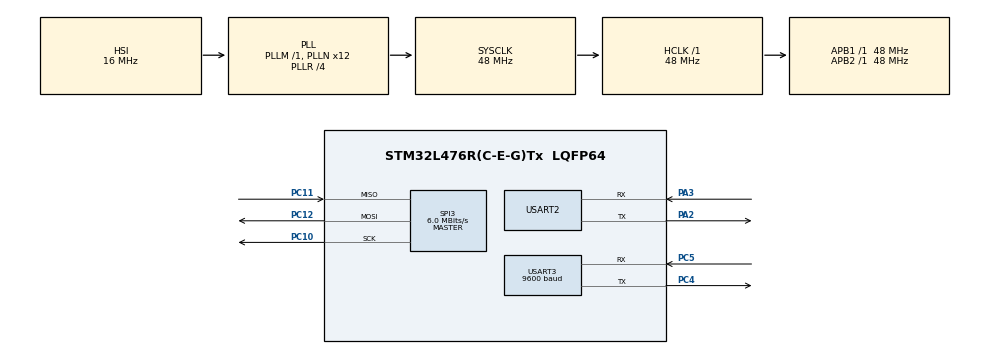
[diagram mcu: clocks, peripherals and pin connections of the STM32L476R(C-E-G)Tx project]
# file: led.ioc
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Dma.Request0=SPI3_TX
Dma.Request1=USART2_RX
Dma.SPI3_TX.0.Direction=DMA_MEMORY_TO_PERIPH
Dma.SPI3_TX.0.Instance=DMA2_Channel2
Dma.SPI3_TX.0.MemDataAlignment=DMA_MDATAALIGN_BYTE
Dma.SPI3_TX.0.MemInc=DMA_MINC_ENABLE
Dma.SPI3_TX.0.Mode=DMA_NORMAL
Dma.SPI3_TX.0.PeriphDataAlignment=DMA_PDATAALIGN_BYTE
Dma.SPI3_TX.0.PeriphInc=DMA_PINC_DISABLE
Dma.SPI3_TX.0.Priority=DMA_PRIORITY_LOW
Dma.USART2_RX.1.Direction=DMA_PERIPH_TO_MEMORY
Dma.USART2_RX.1.Instance=DMA1_Channel6
Dma.USART2_RX.1.MemDataAlignment=DMA_MDATAALIGN_BYTE
Dma.USART2_RX.1.MemInc=DMA_MINC_ENABLE
Dma.USART2_RX.1.Mode=DMA_CIRCULAR
Dma.USART2_RX.1.PeriphDataAlignment=DMA_PDATAALIGN_BYTE
Dma.USART2_RX.1.PeriphInc=DMA_PINC_DISABLE
Dma.USART2_RX.1.Priority=DMA_PRIORITY_LOW
Mcu.Family=STM32L4
Mcu.Name=STM32L476R(C-E-G)Tx
Mcu.Package=LQFP64
NVIC.DMA1_Channel6_IRQn=true\:0\:0\:false\:false\:true\:false\:true\:true
NVIC.DMA2_Channel2_IRQn=true\:0\:0\:false\:false\:true\:false\:true\:true
NVIC.PriorityGroup=NVIC_PRIORITYGROUP_4
NVIC.SPI3_IRQn=true\:0\:0\:false\:false\:true\:true\:true\:true
NVIC.USART2_IRQn=true\:0\:0\:false\:false\:true\:true\:true\:true
PA2.Mode=Asynchronous
PA2.Signal=USART2_TX
PA3.Mode=Asynchronous
PA3.Signal=USART2_RX
PC10.Mode=Full_Duplex_Master
PC10.Signal=SPI3_SCK
PC11.Mode=Full_Duplex_Master
PC11.Signal=SPI3_MISO
PC12.Mode=Full_Duplex_Master
PC12.Signal=SPI3_MOSI
PC4.Mode=Asynchronous
PC4.Signal=USART3_TX
PC5.Mode=Asynchronous
PC5.Signal=USART3_RX
ProjectManager.HeapSize=0x200
ProjectManager.StackSize=0x400
ProjectManager.TargetToolchain=STM32CubeIDE
RCC.ADCFreq_Value=64000000
RCC.AHBFreq_Value=48000000
RCC.APB1Freq_Value=48000000
RCC.APB1TimFreq_Value=48000000
RCC.APB2Freq_Value=48000000
RCC.APB2TimFreq_Value=48000000
RCC.CortexFreq_Value=48000000
RCC.HCLKFreq_Value=48000000
RCC.HSE_VALUE=8000000
RCC.HSI_VALUE=16000000
RCC.LSE_VALUE=32768
RCC.MSI_VALUE=4000000
RCC.PLLN=12
RCC.PLLR=RCC_PLLR_DIV4
RCC.PLLSourceVirtual=RCC_PLLSOURCE_HSI
RCC.SYSCLKFreq_VALUE=48000000
RCC.SYSCLKSource=RCC_SYSCLKSOURCE_PLLCLK
RCC.USBFreq_Value=64000000
RCC.VCOOutputFreq_Value=192000000
SPI3.BaudRatePrescaler=SPI_BAUDRATEPRESCALER_8
SPI3.CLKPhase=SPI_PHASE_1EDGE
SPI3.CLKPolarity=SPI_POLARITY_LOW
SPI3.CalculateBaudRate=6.0 MBits/s
SPI3.DataSize=SPI_DATASIZE_8BIT
SPI3.Direction=SPI_DIRECTION_2LINES
SPI3.Mode=SPI_MODE_MASTER
SPI3.NSSPMode=SPI_NSS_PULSE_DISABLE
SPI3.VirtualType=VM_MASTER
USART2.VirtualMode-Asynchronous=VM_ASYNC
USART3.BaudRate=9600
USART3.VirtualMode-Asynchronous=VM_ASYNC
board=custom

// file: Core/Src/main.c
/* USER CODE BEGIN Header */
/**
 ******************************************************************************
 * @file           : main.c
 * @brief          : Main program body
 ******************************************************************************
 * @attention
 *
 * Copyright (c) 2023 STMicroelectronics.
 * All rights reserved.
 *
 * This software is licensed under terms that can be found in the LICENSE file
 * in the root directory of this software component.
 * If no LICENSE file comes with this software, it is provided AS-IS.
 *
 ******************************************************************************
 */
/* USER CODE END Header */
#include "main.h"

/* USER CODE BEGIN Includes */
#include <stdbool.h>
#include <stdint.h>
#include <stdio.h>
#include <unistd.h>
#include <stdlib.h>
#include "string.h"
/* USER CODE END Includes */

/* USER CODE BEGIN PD */
#define zero 0b11000000
#define one  0b11110000
#define life 0b00000000
#define CR	 0b00001101
#define LF   0b00001010
/* USER CODE END PD */

SPI_HandleTypeDef hspi3;
DMA_HandleTypeDef hdma_spi3_tx;

UART_HandleTypeDef huart2;
UART_HandleTypeDef huart3;
DMA_HandleTypeDef hdma_usart2_rx;

void SystemClock_Config(void);
static void MX_GPIO_Init(void);
static void MX_DMA_Init(void);
static void MX_SPI3_Init(void);
static void MX_USART2_UART_Init(void);
static void MX_USART3_UART_Init(void);

/* USER CODE BEGIN 0 */

#define MainBuf_SIZE 20
uint8_t MainBuf[MainBuf_SIZE];

int _write(int file, char *ptr, int len) {
	int DataIdx;
	for (DataIdx = 0; DataIdx < len; DataIdx++) {
		ITM_SendChar(*ptr++);
	}
	return len;
}
void byte_to_bin(uint8_t byte, bool* output) {
  for (size_t i = 0; i < 8; i++) {
    output[7 - i] = (byte >> i) & 1;
  }
}
void readbin(bool *output)
{
    for (size_t i = 0; i < 8; i++) {
    printf("%d", output[i]);
  }
  printf("\n");
}

void boolgenSPI(bool* R,bool* G,bool* B,bool* R2,bool* G2,bool* B2,unsigned char* Data )
{
  for(uint8_t i=0;i<8;i++)
  {
    if(R[i]==true)
    {
      Data[i]=one;
    }
    else if(R[i]==false)
    {
      Data[i]=zero;
    }
  }
  for(uint8_t i=0;i<8;i++)
  {
    if(G[i]==true)
    {
      Data[8+i]=one;
    }
    else if(G[i]==false)
    {
      Data[8+i]=zero;
    }
  }
  for(uint8_t i=0;i<8;i++)
  {
    if(B[i]==true)
    {
      Data[16+i]=one;
    }
    else if(B[i]==false)
    {
      Data[16+i]=zero;
    }
  }
  for(uint8_t i=0;i<40;i++)
   {
	  Data[24+i]=life;
   }
  for(uint8_t i=0;i<8;i++)
    {
      if(R2[i]==true)
      {
        Data[64+i]=one;
      }
      else if(R2[i]==false)
      {
        Data[64+i]=zero;
      }
    }
  for(uint8_t i=0;i<8;i++)
    {
      if(G2[i]==true)
      {
        Data[72+i]=one;
      }
      else if(G2[i]==false)
      {
        Data[72+i]=zero;
      }
    }
  for(uint8_t i=0;i<8;i++)
    {
      if(B2[i]==true)
      {
        Data[80+i]=one;
      }
      else if(B2[i]==false)
      {
        Data[80+i]=zero;
      }
    }
  //Przerwa w transmisji
  for(uint8_t i=0;i<40;i++)
   {
	  Data[88+i]=life;
   }
//Czytanie
//  for(uint8_t i=0;i<128;i++)
//  {
//    printf("%u \n",Data[i]);
//  }
}
/* USER CODE END 0 */

int main(void)
{
  /* USER CODE BEGIN 1 */
	uint8_t R1,B1,G1,R2,G2,B2;
	unsigned char Data[128];
	unsigned char Rdata[128];
	unsigned char BCom[6];//Receive data
	uint8_t BSend[] = "AT\r\n";
	uint8_t rx_data[50];
	uint16_t rx_size=0;
	char input[6];
	  bool aR1[8];
	  bool aG1[8];
	  bool aB1[8];
	  bool aR2[8];
	  bool aG2[8];
	  bool aB2[8];
  /* USER CODE END 1 */

  /* MCU Configuration--------------------------------------------------------*/

  /* Reset of all peripherals, Initializes the Flash interface and the Systick. */
  HAL_Init();

  /* Configure the system clock */
  SystemClock_Config();

  /* Initialize all configured peripherals */
  MX_GPIO_Init();
  MX_DMA_Init();
  MX_SPI3_Init();
  MX_USART2_UART_Init();
  MX_USART3_UART_Init();

  /* Infinite loop */
  /* USER CODE BEGIN WHILE */

	memset(input, 0x00, 6);

	while (1) {
    /* USER CODE END WHILE */

    /* USER CODE BEGIN 3 */
		//RGB
//
		//printf("piwo \n");
//Odczyt z UART
//		HAL_UART_Transmit(&huart3,BSend, sizeof(BSend), HAL_MAX_DELAY);//BlueTooth Transmit
//		HAL_UART_Receive(&huart3, rx_data, sizeof(rx_data), HAL_MAX_DELAY);//BlueTooth receive
//		HAL_Delay(1000);
		HAL_UART_Receive(&huart3, (uint8_t*) input, 6, HAL_MAX_DELAY);//LED receive for diagnostics only

		printf("Dupa %c",rx_data[3]);
//		printf("LED1: %d %d %d LED2: %d %d %d \n", input[0], input[1], input[2],
//				input[3], input[4], input[5]);

		R1=(uint8_t*)input[0];
		G1=(uint8_t*)input[1];
		B1=(uint8_t*)input[2];
		R2=(uint8_t*)input[3];
		G2=(uint8_t*)input[4];
		B2=(uint8_t*)input[5];
		byte_to_bin(R1, aR1);
//		readbin(aR1);
		byte_to_bin(G1, aG1);
//		readbin(aG1);
		byte_to_bin(B1, aB1);
//		readbin(aB1);
		byte_to_bin(R2, aR2);
//		readbin(aR2);
		byte_to_bin(G2, aG2);
//		readbin(aG2);
		byte_to_bin(B2, aB2);
//		readbin(aB2);
		boolgenSPI(aR1, aG1, aB1, aR2, aG2, aB2, Data);
		HAL_SPI_Transmit(&hspi3, Data, 128, HAL_MAX_DELAY);
		HAL_SPI_Receive(&hspi3,(uint8_t*) Rdata, 128,HAL_MAX_DELAY);
		printf("LED1: %d %d %d LED2: %d %d %d \n", Rdata[0], Rdata[1],Rdata[2], Rdata[3],Rdata[4], Rdata[5]);

		//memset(input, 0x00, 128);

		//Koniec odczytu
	}
  /* USER CODE END 3 */
}

void SystemClock_Config(void)
{
  RCC_OscInitTypeDef RCC_OscInitStruct = {0};
  RCC_ClkInitTypeDef RCC_ClkInitStruct = {0};

  /** Configure the main internal regulator output voltage
  */
  if (HAL_PWREx_ControlVoltageScaling(PWR_REGULATOR_VOLTAGE_SCALE1) != HAL_OK)
  {
    Error_Handler();
  }

  /** Initializes the RCC Oscillators according to the specified parameters
  * in the RCC_OscInitTypeDef structure.
  */
  RCC_OscInitStruct.OscillatorType = RCC_OSCILLATORTYPE_HSI;
  RCC_OscInitStruct.HSIState = RCC_HSI_ON;
  RCC_OscInitStruct.HSICalibrationValue = RCC_HSICALIBRATION_DEFAULT;
  RCC_OscInitStruct.PLL.PLLState = RCC_PLL_ON;
  RCC_OscInitStruct.PLL.PLLSource = RCC_PLLSOURCE_HSI;
  RCC_OscInitStruct.PLL.PLLM = 1;
  RCC_OscInitStruct.PLL.PLLN = 12;
  RCC_OscInitStruct.PLL.PLLP = RCC_PLLP_DIV7;
  RCC_OscInitStruct.PLL.PLLQ = RCC_PLLQ_DIV2;
  RCC_OscInitStruct.PLL.PLLR = RCC_PLLR_DIV4;
  if (HAL_RCC_OscConfig(&RCC_OscInitStruct) != HAL_OK)
  {
    Error_Handler();
  }

  /** Initializes the CPU, AHB and APB buses clocks
  */
  RCC_ClkInitStruct.ClockType = RCC_CLOCKTYPE_HCLK|RCC_CLOCKTYPE_SYSCLK
                              |RCC_CLOCKTYPE_PCLK1|RCC_CLOCKTYPE_PCLK2;
  RCC_ClkInitStruct.SYSCLKSource = RCC_SYSCLKSOURCE_PLLCLK;
  RCC_ClkInitStruct.AHBCLKDivider = RCC_SYSCLK_DIV1;
  RCC_ClkInitStruct.APB1CLKDivider = RCC_HCLK_DIV1;
  RCC_ClkInitStruct.APB2CLKDivider = RCC_HCLK_DIV1;

  if (HAL_RCC_ClockConfig(&RCC_ClkInitStruct, FLASH_LATENCY_2) != HAL_OK)
  {
    Error_Handler();
  }
}

static void MX_SPI3_Init(void)
{

  /* SPI3 parameter configuration*/
  hspi3.Instance = SPI3;
  hspi3.Init.Mode = SPI_MODE_MASTER;
  hspi3.Init.Direction = SPI_DIRECTION_2LINES;
  hspi3.Init.DataSize = SPI_DATASIZE_8BIT;
  hspi3.Init.CLKPolarity = SPI_POLARITY_LOW;
  hspi3.Init.CLKPhase = SPI_PHASE_1EDGE;
  hspi3.Init.NSS = SPI_NSS_SOFT;
  hspi3.Init.BaudRatePrescaler = SPI_BAUDRATEPRESCALER_8;
  hspi3.Init.FirstBit = SPI_FIRSTBIT_MSB;
  hspi3.Init.TIMode = SPI_TIMODE_DISABLE;
  hspi3.Init.CRCCalculation = SPI_CRCCALCULATION_DISABLE;
  hspi3.Init.CRCPolynomial = 7;
  hspi3.Init.CRCLength = SPI_CRC_LENGTH_DATASIZE;
  hspi3.Init.NSSPMode = SPI_NSS_PULSE_DISABLE;
  if (HAL_SPI_Init(&hspi3) != HAL_OK)
  {
    Error_Handler();
  }

}

static void MX_USART2_UART_Init(void)
{

  huart2.Instance = USART2;
  huart2.Init.BaudRate = 115200;
  huart2.Init.WordLength = UART_WORDLENGTH_8B;
  huart2.Init.StopBits = UART_STOPBITS_1;
  huart2.Init.Parity = UART_PARITY_NONE;
  huart2.Init.Mode = UART_MODE_TX_RX;
  huart2.Init.HwFlowCtl = UART_HWCONTROL_NONE;
  huart2.Init.OverSampling = UART_OVERSAMPLING_16;
  huart2.Init.OneBitSampling = UART_ONE_BIT_SAMPLE_DISABLE;
  huart2.AdvancedInit.AdvFeatureInit = UART_ADVFEATURE_NO_INIT;
  if (HAL_UART_Init(&huart2) != HAL_OK)
  {
    Error_Handler();
  }

}

static void MX_USART3_UART_Init(void)
{

  huart3.Instance = USART3;
  huart3.Init.BaudRate = 9600;
  huart3.Init.WordLength = UART_WORDLENGTH_8B;
  huart3.Init.StopBits = UART_STOPBITS_1;
  huart3.Init.Parity = UART_PARITY_NONE;
  huart3.Init.Mode = UART_MODE_TX_RX;
  huart3.Init.HwFlowCtl = UART_HWCONTROL_NONE;
  huart3.Init.OverSampling = UART_OVERSAMPLING_16;
  huart3.Init.OneBitSampling = UART_ONE_BIT_SAMPLE_DISABLE;
  huart3.AdvancedInit.AdvFeatureInit = UART_ADVFEATURE_NO_INIT;
  if (HAL_UART_Init(&huart3) != HAL_OK)
  {
    Error_Handler();
  }

}

static void MX_DMA_Init(void)
{

  /* DMA controller clock enable */
  __HAL_RCC_DMA2_CLK_ENABLE();
  __HAL_RCC_DMA1_CLK_ENABLE();

  /* DMA interrupt init */
  /* DMA1_Channel6_IRQn interrupt configuration */
  HAL_NVIC_SetPriority(DMA1_Channel6_IRQn, 0, 0);
  HAL_NVIC_EnableIRQ(DMA1_Channel6_IRQn);
  /* DMA2_Channel2_IRQn interrupt configuration */
  HAL_NVIC_SetPriority(DMA2_Channel2_IRQn, 0, 0);
  HAL_NVIC_EnableIRQ(DMA2_Channel2_IRQn);

}

static void MX_GPIO_Init(void)
{

  /* GPIO Ports Clock Enable */
  __HAL_RCC_GPIOA_CLK_ENABLE();
  __HAL_RCC_GPIOC_CLK_ENABLE();

}

void Error_Handler(void)
{
	__disable_irq();
	while (1) {
	}
}
